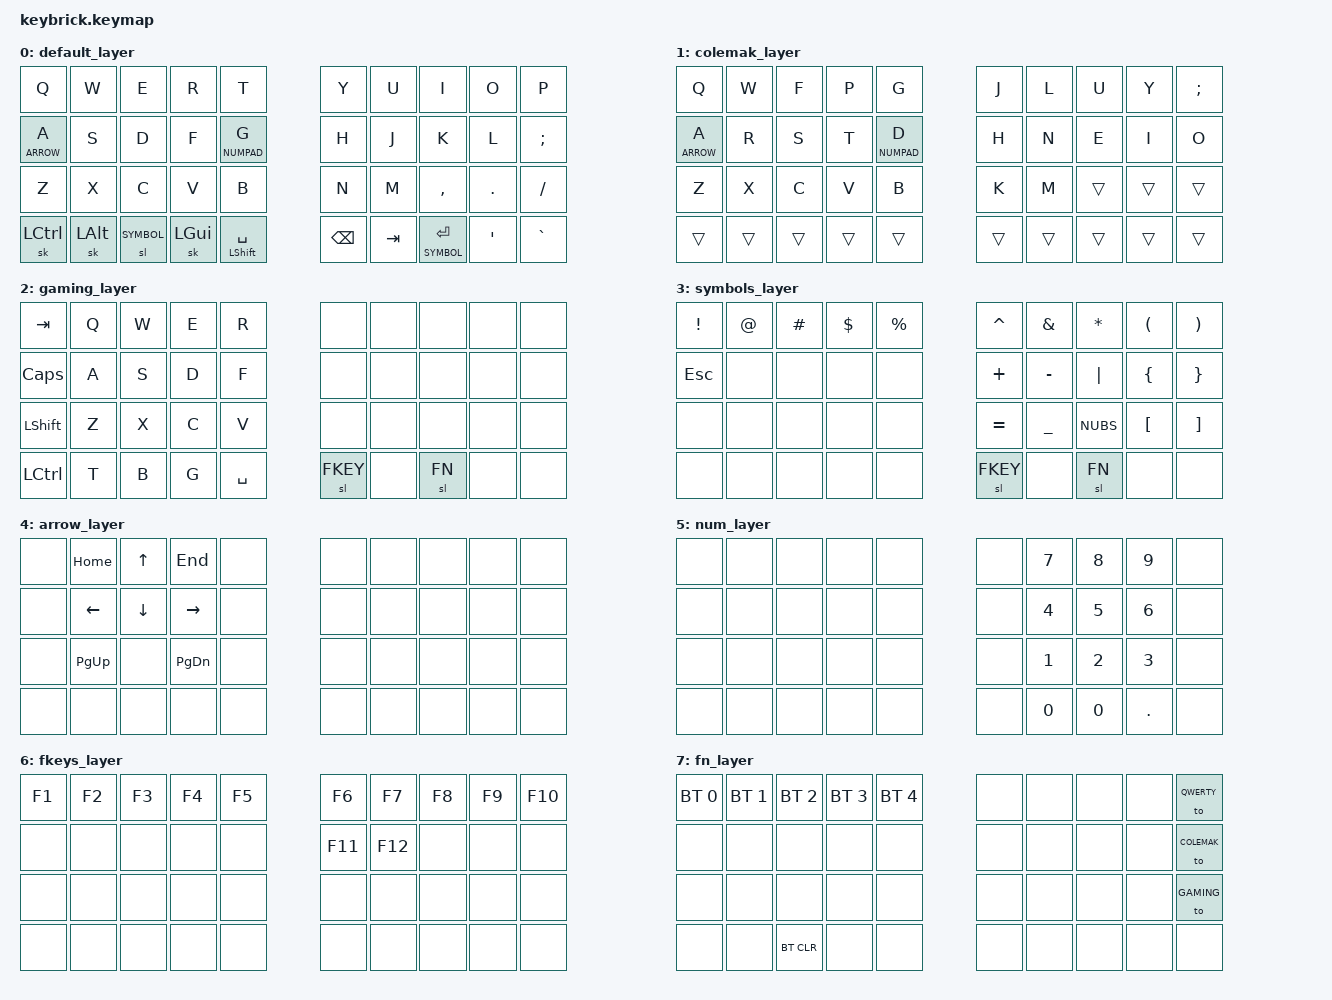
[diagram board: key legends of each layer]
#include <behaviors.dtsi>
#include <dt-bindings/zmk/keys.h>
#include <dt-bindings/zmk/bt.h>

#define QWERTY 0
#define COLEMAK 1
#define GAMING 2
#define SYMBOL 3
#define ARROW 4
#define NUMPAD 5
#define FKEY 6
#define FN 7

&sl {
    release-after-ms = <2000>;
    /delete-property/ quick-release;
};

/ {
        keymap {
                compatible = "zmk,keymap";

                default_layer {
// -----------------------------------------------------------------------------------------
// |  Q  |  W  |  E        |  R  |  T  |              |  Y  |  U   |  I  |  O  |  P  |
// |  A  |  S  |  D        |  F  |  G  |              |  H  |  J   |  K  |  L  |  ;  |
// |  Z  |  X  |  C        |  V  |  B  |              |  N  |  M   |  ,  |  .  |  /  |
// | CTRL| LALT| SL SYMBOL | LGUI|  LSHIFT SPACE  |   | BSPC|  TAB | RET |  "  |  `  |
                        bindings = <
   &kp Q          &kp W     &kp E      &kp R     &kp T                   &kp Y       &kp U     &kp I          &kp O     &kp P
   &lt ARROW A    &kp S     &kp D      &kp F     &lt NUMPAD G            &kp H       &kp J     &kp K          &kp L     &kp SEMI
   &kp Z          &kp X     &kp C      &kp V     &kp B                   &kp N       &kp M     &kp COMMA      &kp DOT   &kp FSLH
   &sk LCTRL      &sk LALT  &sl SYMBOL &sk LGUI  &mt LSHIFT SPACE        &kp BSPC    &kp TAB   &lt SYMBOL RET &kp SQT   &kp GRAVE
                        >;
                };

                colemak_layer {
// -----------------------------------------------------------------------------------------
// |  Q  |  W  |  F  |  P  |  G  |              |  J  |  L   |  U  |  Y  |  :  |
// |  A  |  R  |  S  |  T  |  D  |              |  H  |  N   |  E  |  I  |  O  |
// |  Z  |  X  |  C  |  V  |  B  |              |  K  |  M   |     |    |     |
// |     |     |     |     |     |              |     |      |     |     |     |
                        bindings = <
   &kp Q       &kp W     &kp F     &kp P     &kp G                   &kp J       &kp L     &kp U      &kp Y     &kp SEMI
   &lt ARROW A &kp R     &kp S     &kp T     &lt NUMPAD D            &kp H       &kp N     &kp E      &kp I     &kp O
   &kp Z       &kp X     &kp C     &kp V     &kp B                   &kp K       &kp M     &trans     &trans    &trans
   &trans      &trans    &trans    &trans    &trans                  &trans     &trans     &trans     &trans    &trans
                        >;
                };

                gaming_layer {
// -----------------------------------------------------------------------------------------
// |  TAB   |  Q  |  W  |  E  |  R  |              |      |     |     |     |     |
// |  CAPS  |  A  |  S  |  D  |  F  |              |      |     |     |     |     |
// |  SHIFT |  Z  |  X  |  C  |  V  |              |      |     |     |     |     |
// |  CTRL  |  T  |  B  |  B  | SPACE |            | FKEY |     | SLFN|     |     |
                        bindings = <
   &kp TAB      &kp Q      &kp W     &kp E     &kp R                   &none       &none     &none         &none     &none
   &kp CAPS     &kp A      &kp S     &kp D     &kp F                   &none       &none     &none         &none     &none
   &kp LSHIFT   &kp Z      &kp X     &kp C     &kp V                   &none       &none     &none         &none     &none
   &kp LCTRL    &kp T      &kp B     &kp G     &kp SPACE               &sl FKEY    &none     &sl FN         &none     &none
                        >;
                };

                symbols_layer {
// -----------------------------------------------------------------------------------------
// |  !  |  @  |  #  |  $  |  %  |              |  ^  |  &  |  *  |  (  |  )  |
// | ESC |     |     |     |     |              |  +  |  -  |  |  |  {  |  }  |
// |     |     |     |     |     |              |  =  |  _  |  \  |  [  |  ]  |
// |     |     |     |     |     |              | FKEY|     | SLFN|     |     |
                        bindings = <
   &kp EXCL   &kp AT    &kp HASH  &kp DLLR  &kp PRCNT               &kp CARET   &kp AMPS  &kp STAR      &kp LPAR  &kp RPAR
   &kp ESC    &none     &none     &none     &none                   &kp PLUS    &kp MINUS &kp PIPE      &kp LBRC  &kp RBRC
   &none      &none     &none     &none     &none                   &kp EQUAL   &kp UNDER &kp NUBS      &kp LBKT  &kp RBKT
   &none      &none     &none     &none     &none                   &sl FKEY    &none     &sl FN        &none     &none
                        >;
                };

                arrow_layer {
// -----------------------------------------------------------------------------------------
// |     | HOME |  ⬆  | END |     |              |     |      |     |     |     |
// |     |  ⬅  |  ⬇  |  ⮕ |     |               |     |      |     |     |     |
// |     |PG_UP |     |PG_DN|     |              |     |      |     |     |     |
// |     |      |     |     |     |              |     |      |     |     |     |
                        bindings = <
   &none      &kp HOME  &kp UP    &kp END   &none                   &none       &none     &none         &none     &none
   &none      &kp LEFT  &kp DOWN  &kp RIGHT &none                   &none       &none     &none         &none     &none
   &none      &kp PG_UP &none     &kp PG_DN &none                   &none       &none     &none         &none     &none
   &none      &none     &none     &none     &none                   &none       &none     &none         &none     &none
                        >;
                };

                num_layer {
// -----------------------------------------------------------------------------------------
// |     |     |     |     |     |              |     |  7  |  8  |  9  |     |
// |     |     |     |     |     |              |     |  4  |  5  |  6  |     |
// |     |     |     |     |     |              |     |  1  |  2  |  3  |     |
// |     |     |     |     |     |              |     |  0  |  0  |  .  |     |
                        bindings = <
   &none      &none     &none     &none     &none                   &none       &kp N7   &kp N8       &kp N9     &none
   &none      &none     &none     &none     &none                   &none       &kp N4   &kp N5       &kp N6     &none
   &none      &none     &none     &none     &none                   &none       &kp N1   &kp N2       &kp N3     &none
   &none      &none     &none     &none     &none                   &none       &kp N0   &kp N0       &kp DOT    &none
                        >;
                };

                fkeys_layer {
// -----------------------------------------------------------------------------------------
// |  F1 |  F2 |  F3 |  F4 |  F5 |              |  F6 |  F7 |  F8 |  F9 | F10 |
// |     |     |     |     |     |              |  F11|  F12|     |     |     |
// |     |     |     |     |     |              |     |     |     |     |     |
// |     |     |     |     |     |              |     |     |     |     |     |
                        bindings = <
   &kp F1     &kp F2    &kp F3    &kp F4    &kp F5                  &kp F6      &kp F7    &kp F8        &kp F9    &kp F10
   &none      &none     &none     &none     &none                   &kp F11     &kp F12   &none         &none     &none
   &none      &none     &none     &none     &none                   &none       &none     &none         &none     &none
   &none      &none     &none     &none     &none                   &none       &none     &none         &none     &none
                        >;
                };

                fn_layer {
// -----------------------------------------------------------------------------------------
// |     |     |     |     |     |              |     |     |     |     |  QWERTY   |
// |     |     |     |     |     |              |     |     |     |     |  COLEMAK  |
// |     |     |     |     |     |              |     |     |     |     |  GAMING   |
// |     |     |     |     |     |              |     |     |     |     |           |
                        bindings = <
   &bt BT_SEL 0 &bt BT_SEL 1 &bt BT_SEL 2 &bt BT_SEL 3 &bt BT_SEL 4 &none      &none     &none         &none     &to QWERTY
   &none        &none        &none        &none        &none        &none      &none     &none         &none     &to COLEMAK
   &none        &none        &none        &none        &none        &none      &none     &none         &none     &to GAMING
   &none        &none        &bt BT_CLR   &none        &none        &none      &none     &none         &none     &none
                        >;
                };
        };
};
